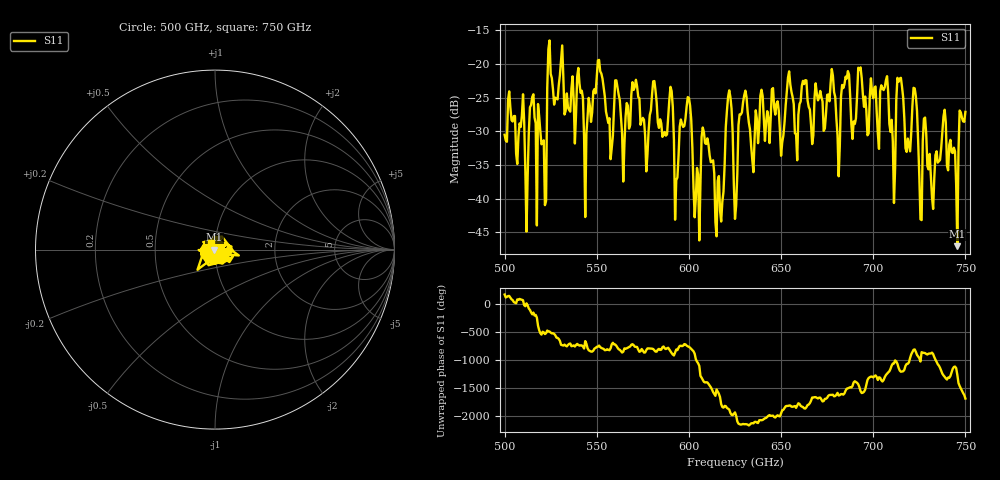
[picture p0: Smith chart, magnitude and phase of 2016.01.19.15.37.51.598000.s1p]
!Created with skrf (http://scikit-rf.org).
# GHz S RI R 50.0
!freq ReS11 ImS11
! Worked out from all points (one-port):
!   401 points, 500 GHz to 750 GHz, reference 50 ohm
!   lowest |S11| = -47.0 dB at 745.6 GHz (marker M1), VSWR 1.01, Z = 49.6 + j0.0176 ohm
!   |S11| at or under -10 dB: start of sweep to end of sweep
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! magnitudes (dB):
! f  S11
! 500 GHz  -30.5
! 511.9 GHz  -44.9
! 515 GHz  -24.9
! 521.2 GHz  -31.3
! 524.4 GHz  -16.5
! 531.2 GHz  -17.3
! 543.8 GHz  -42.7
! 551.2 GHz  -19.4
! 562.5 GHz  -25.4
! 590 GHz  -23.4
! 593.8 GHz  -36.9
! 600 GHz  -25.1
! 604.4 GHz  -35.4
! 608.8 GHz  -31.8
! 616.2 GHz  -36.6
! 621.9 GHz  -23.9
! 625 GHz  -43.0
! 630 GHz  -24.7
! 656.2 GHz  -24.9
! 687.5 GHz  -24.9
! 706.9 GHz  -22.4
! 710.6 GHz  -31.5
! 714.4 GHz  -22.2
! 718.8 GHz  -31.1
! 722.5 GHz  -23.7
! 725.6 GHz  -43.1
! 745.6 GHz  -47.0
! 750 GHz  -27.1
